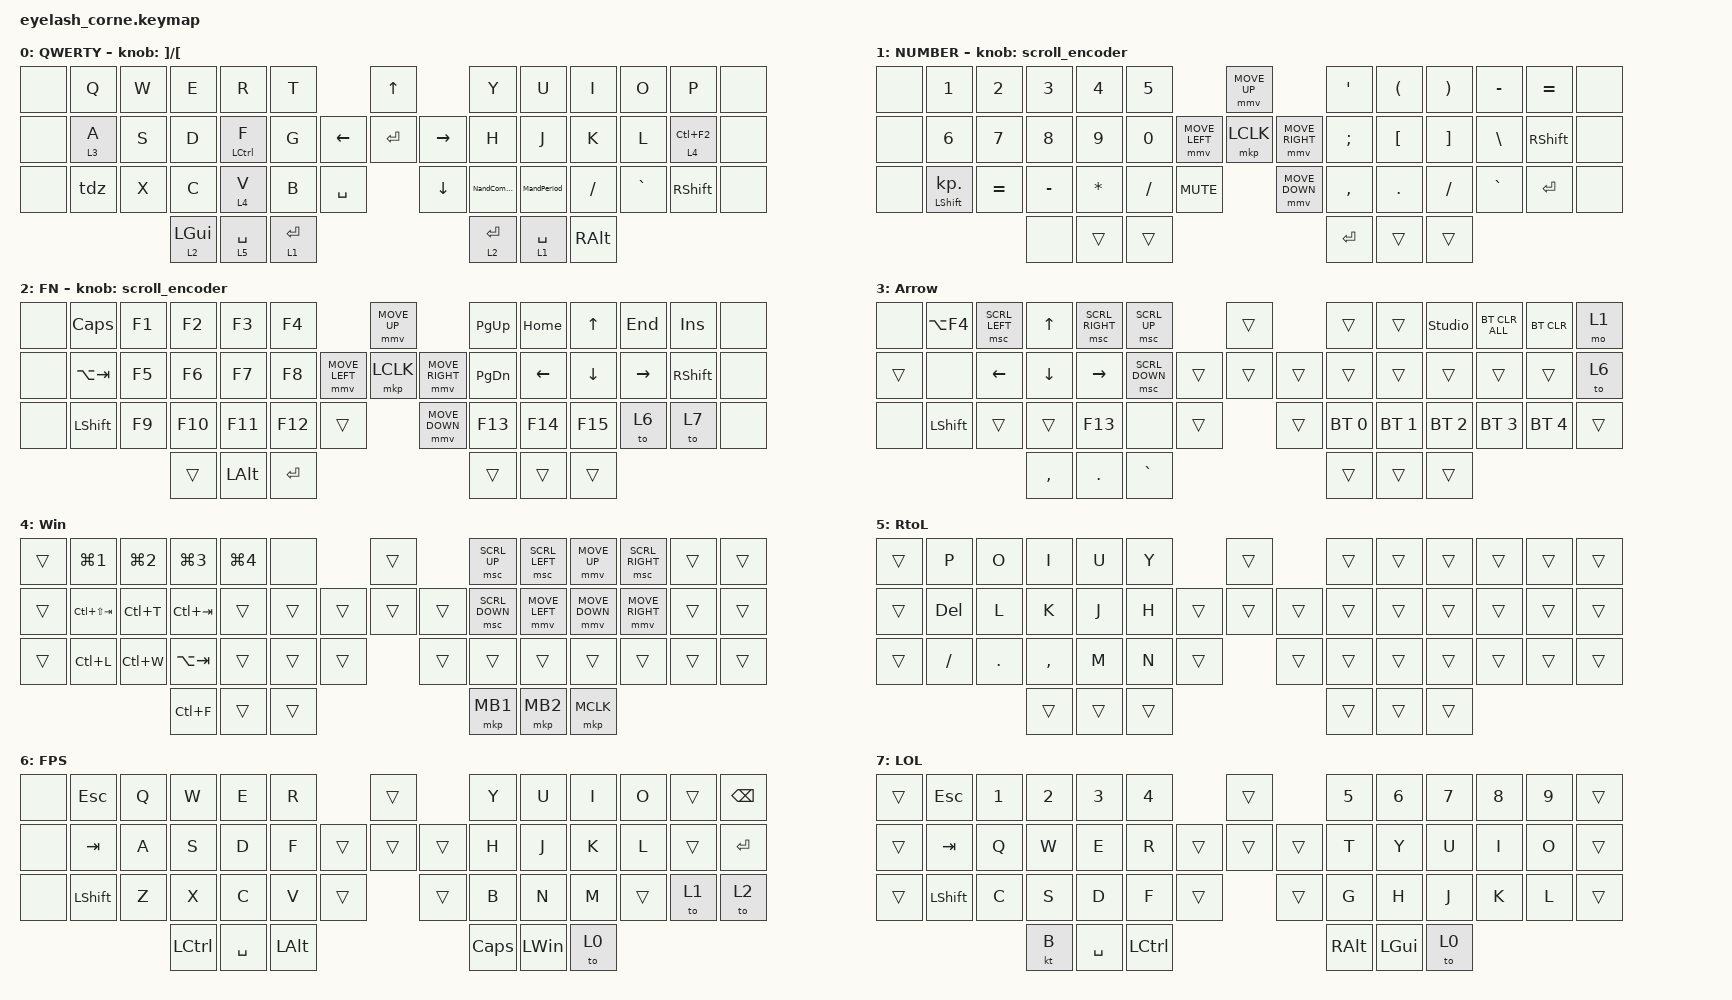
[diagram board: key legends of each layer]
#define ZMK_POINTING_DEFAULT_MOVE_VAL 1200  // 600
#define ZMK_POINTING_DEFAULT_SCRL_VAL 25   // 10

#include <input/processors.dtsi>
#include <zephyr/dt-bindings/input/input-event-codes.h>
#include <behaviors.dtsi>
#include <dt-bindings/zmk/bt.h>
#include <dt-bindings/zmk/keys.h>
#include <dt-bindings/zmk/pointing.h>

&mmv_input_listener { input-processors = <&zip_xy_scaler 2 1>; };

&msc_input_listener { input-processors = <&zip_scroll_scaler 2 1>; };

&msc {
    acceleration-exponent = <1>;      // 0
    time-to-max-speed-ms = <100>;       // 300
    delay-ms = <0>;                   // 0
};

&mmv {
    time-to-max-speed-ms = <500>;
    acceleration-exponent = <1>;
    trigger-period-ms = <16>;
};

&soft_off { hold-time-ms = <2000>; };

/ {
    behaviors {
        NandComma: NandComma {
            compatible = "zmk,behavior-mod-morph";
            label = "NANDCOMMA";
            bindings = <&kp N>, <&kp RS(COMMA)>;

            #binding-cells = <0>;
            mods = <(MOD_RSFT)>;
        };

        MandPeriod: MandPeriod {
            compatible = "zmk,behavior-mod-morph";
            label = "MANDPERIOD";
            bindings = <&kp M>, <&kp RS(PERIOD)>;

            #binding-cells = <0>;
            mods = <(MOD_RSFT)>;
        };

        f_ctrl: f_ctrl {
            compatible = "zmk,behavior-hold-tap";
            label = "F_CTRL";
            bindings = <&kp>, <&kp>;

            #binding-cells = <2>;
            tapping-term-ms = <170>;
            quick-tap-ms = <125>;
            require-prior-idle-ms = <125>;
            flavor = "balanced";
            hold-while-undecided;
            hold-trigger-key-positions = <1 15 16 17 18 5 4 3 2 29 30 31 32 33 36 22 7 9 8 23 24 38 37 39 25 10 11 26 40 44 43 42 45 46 47>;
        };

        NEW_LT: NEW_LT {
            compatible = "zmk,behavior-hold-tap";
            label = "NEW_LT";
            bindings = <&mo>, <&kp>;

            #binding-cells = <2>;
            tapping-term-ms = <170>;
            flavor = "balanced";
            quick-tap-ms = <125>;
        };

        tdz: tdz {
            compatible = "zmk,behavior-tap-dance";
            display-name = "Shift/Caps Lock Tap Dance";
            #binding-cells = <0>;
            bindings = <&kp Z>, <&kp F14>;

            label = "TDZ";
        };
    };

    scroll_encoder: scroll_encoder {
        compatible = "zmk,behavior-sensor-rotate";
        #sensor-binding-cells = <0>;
        bindings = <&msc SCRL_DOWN>, <&msc SCRL_UP>;

        tap-ms = <100>;
    };

    combos {
        compatible = "zmk,combos";

        softoff {
            bindings = <&soft_off>;
            key-positions = <0 13 28>;
            layers = <0>;
        };

        tab {
            bindings = <&kp TAB>;
            key-positions = <1 14>;
            layers = <0>;
        };

        backspace {
            bindings = <&kp BACKSPACE>;
            key-positions = <4 5>;
            layers = <2 1 0>;
            timeout-ms = <30>;
        };

        rightbackspace {
            bindings = <&kp BACKSPACE>;
            key-positions = <10 11>;
            layers = <0 2 1>;
            timeout-ms = <50>;
        };

        paste {
            bindings = <&kp LC(V)>;
            key-positions = <17 32>;
            layers = <0>;
        };

        esc {
            bindings = <&kp ESCAPE>;
            key-positions = <2 1>;
            layers = <0>;
        };

        del {
            bindings = <&kp DEL>;
            key-positions = <17 18>;
            layers = <0 1>;
        };

        caps {
            bindings = <&kp CAPS>;
            key-positions = <15 2>;
            layers = <0>;
        };

        ALT {
            bindings = <&kp LEFT_ALT>;
            key-positions = <3 16>;
            layers = <0>;
        };

        F144 {
            bindings = <&kp F14>;
            key-positions = <29 30>;
            layers = <0 2>;
            timeout-ms = <30>;
        };
    };

    keymap {
        compatible = "zmk,keymap";

        default_layer {
            display-name = "QWERTY";
            bindings = <
&none  &kp Q        &kp W  &kp E           &kp R            &kp T                               &kp UP                &kp Y        &kp U        &kp I          &kp O      &kp P             &none
&none  &NEW_LT 3 A  &kp S  &kp D           &f_ctrl LCTRL F  &kp G                     &kp LEFT  &kp ENTER  &kp RIGHT  &kp H        &kp J        &kp K          &kp L      &NEW_LT 4 LC(F2)  &none
&none  &tdz         &kp X  &kp C           &NEW_LT 4 V      &kp B        &kp SPACE              &kp DOWN              &NandComma   &MandPeriod  &kp SLASH      &kp GRAVE  &kp RIGHT_SHIFT   &none
                           &lt 2 LEFT_GUI  &lt 5 SPACE      &lt 1 ENTER                                               &lt 2 ENTER  &lt 1 SPACE  &kp RIGHT_ALT
            >;

            sensor-bindings = <&inc_dec_kp RIGHT_BRACKET LEFT_BRACKET>;
        };

        lower_layer {
            display-name = "NUMBER";
            bindings = <
&none  &kp NUMBER_1           &kp NUMBER_2  &kp NUMBER_3  &kp NUMBER_4  &kp N5                                   &mmv MOVE_UP                     &kp SQT    &kp LEFT_PARENTHESIS  &kp RIGHT_PARENTHESIS  &kp MINUS  &kp EQUAL        &none
&none  &kp NUMBER_6           &kp N7        &kp N8        &kp N9        &kp N0                   &mmv MOVE_LEFT  &mkp LCLK       &mmv MOVE_RIGHT  &kp SEMI   &kp LBKT              &kp RBKT               &kp BSLH   &kp RIGHT_SHIFT  &none
&none  &mt LEFT_SHIFT KP_DOT  &kp EQUAL     &kp MINUS     &kp ASTERISK  &kp SLASH  &kp C_MUTE                    &mmv MOVE_DOWN                   &kp COMMA  &kp DOT               &kp FSLH               &kp GRAVE  &kp ENTER        &none
                                            &none         &trans        &trans                                                                    &kp ENTER  &trans                &trans
            >;

            sensor-bindings = <&scroll_encoder>;
        };

        raise_layer {
            display-name = "FN";
            bindings = <
&none  &kp CAPSLOCK    &kp F1  &kp F2   &kp F3        &kp F4                               &mmv MOVE_UP                     &kp PAGE_UP    &kp HOME  &kp UP    &kp END    &kp INSERT  &none
&none  &kp LA(TAB)     &kp F5  &kp F6   &kp F7        &kp F8               &mmv MOVE_LEFT  &mkp LCLK       &mmv MOVE_RIGHT  &kp PAGE_DOWN  &kp LEFT  &kp DOWN  &kp RIGHT  &kp RSHFT   &none
&none  &kp LEFT_SHIFT  &kp F9  &kp F10  &kp F11       &kp F12    &trans                    &mmv MOVE_DOWN                   &kp F13        &kp F14   &kp F15   &to 6      &to 7       &none
                               &trans   &kp LEFT_ALT  &kp ENTER                                                             &trans         &trans    &trans
            >;

            sensor-bindings = <&scroll_encoder>;
        };

        little {
            bindings = <
&none   &kp LA(F4)      &msc SCRL_LEFT  &kp UP_ARROW    &msc SCRL_RIGHT  &msc SCRL_UP                      &trans          &trans        &trans        &studio_unlock  &bt BT_CLR_ALL  &bt BT_CLR    &mo 1
&trans  &none           &kp LEFT_ARROW  &kp DOWN_ARROW  &kp RIGHT_ARROW  &msc SCRL_DOWN            &trans  &trans  &trans  &trans        &trans        &trans          &trans          &trans        &to 6
&none   &kp LEFT_SHIFT  &trans          &trans          &kp F13          &none           &trans            &trans          &bt BT_SEL 0  &bt BT_SEL 1  &bt BT_SEL 2    &bt BT_SEL 3    &bt BT_SEL 4  &trans
                                        &kp COMMA       &kp PERIOD       &kp GRAVE                                         &trans        &trans        &trans
            >;

            label = "Arrow";
        };

        win {
            bindings = <
&trans  &kp LG(NUMBER_1)  &kp LG(NUMBER_2)  &kp LG(NUMBER_3)  &kp LG(NUMBER_4)  &none                     &trans          &msc SCRL_UP    &msc SCRL_LEFT  &mmv MOVE_UP    &msc SCRL_RIGHT  &trans  &trans
&trans  &kp LC(LS(TAB))   &kp LC(T)         &kp LC(TAB)       &trans            &trans            &trans  &trans  &trans  &msc SCRL_DOWN  &mmv MOVE_LEFT  &mmv MOVE_DOWN  &mmv MOVE_RIGHT  &trans  &trans
&trans  &kp LC(L)         &kp LC(W)         &kp LA(TAB)       &trans            &trans  &trans            &trans          &trans          &trans          &trans          &trans           &trans  &trans
                                            &kp LC(F)         &trans            &trans                                    &mkp MB1        &mkp MB2        &mkp MCLK
            >;

            label = "Win";
        };

        RtoL {
            bindings = <
&trans  &kp P       &kp O    &kp I      &kp U   &kp Y                     &trans          &trans  &trans  &trans  &trans  &trans  &trans
&trans  &kp DELETE  &kp L    &kp K      &kp J   &kp H             &trans  &trans  &trans  &trans  &trans  &trans  &trans  &trans  &trans
&trans  &kp FSLH    &kp DOT  &kp COMMA  &kp M   &kp N   &trans            &trans          &trans  &trans  &trans  &trans  &trans  &trans
                             &trans     &trans  &trans                                    &trans  &trans  &trans
            >;

            label = "RtoL";
        };

        FPS {
            bindings = <
&none  &kp ESCAPE      &kp Q  &kp W      &kp E      &kp R                           &trans          &kp Y         &kp U         &kp I  &kp O   &trans  &kp BSPC
&none  &kp TAB         &kp A  &kp S      &kp D      &kp F                   &trans  &trans  &trans  &kp H         &kp J         &kp K  &kp L   &trans  &kp ENTER
&none  &kp LEFT_SHIFT  &kp Z  &kp X      &kp C      &kp V         &trans            &trans          &kp B         &kp N         &kp M  &trans  &to 1   &to 2
                              &kp LCTRL  &kp SPACE  &kp LEFT_ALT                                    &kp CAPSLOCK  &kp LEFT_WIN  &to 0
            >;

            label = "FPS";
        };

        LOL {
            bindings = <
&trans  &kp ESCAPE      &kp NUMBER_1  &kp NUMBER_2  &kp NUMBER_3  &kp NUMBER_4                    &trans          &kp N5         &kp N6    &kp N7  &kp N8  &kp N9  &trans
&trans  &kp TAB         &kp Q         &kp W         &kp E         &kp R                   &trans  &trans  &trans  &kp T          &kp Y     &kp U   &kp I   &kp O   &trans
&trans  &kp LEFT_SHIFT  &kp C         &kp S         &kp D         &kp F         &trans            &trans          &kp G          &kp H     &kp J   &kp K   &kp L   &trans
                                      &kt B         &kp SPACE     &kp LCTRL                                       &kp RIGHT_ALT  &kp LGUI  &to 0
            >;

            label = "LOL";
        };
    };
};
